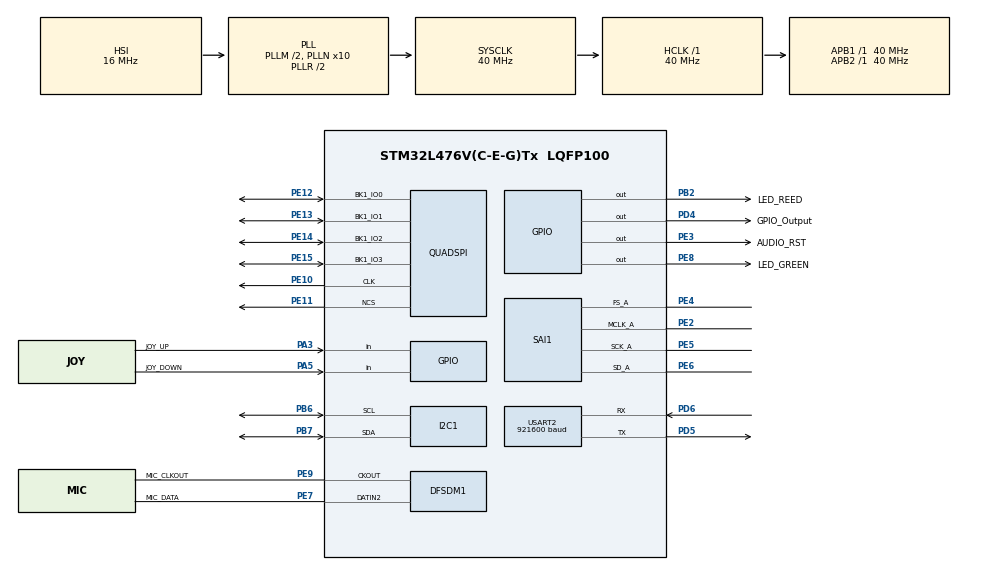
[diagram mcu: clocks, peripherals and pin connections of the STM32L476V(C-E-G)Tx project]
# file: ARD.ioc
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DFSDM1.Divider=20
DFSDM1.DmaMode_reg_FIL0=ENABLE
DFSDM1.FastMode_reg_FIL0=ENABLE
DFSDM1.Filter_regChannel_FIL0=DFSDM_CHANNEL_2
DFSDM1.Fosr_FIL0=90
DFSDM1.RightBitShift_CH2=0x08
DFSDM1.SincOrder_FIL0=DFSDM_FILTER_SINC3_ORDER
Dma.DFSDM1_FLT0.0.Direction=DMA_PERIPH_TO_MEMORY
Dma.DFSDM1_FLT0.0.Instance=DMA1_Channel4
Dma.DFSDM1_FLT0.0.MemDataAlignment=DMA_MDATAALIGN_WORD
Dma.DFSDM1_FLT0.0.MemInc=DMA_MINC_ENABLE
Dma.DFSDM1_FLT0.0.Mode=DMA_CIRCULAR
Dma.DFSDM1_FLT0.0.PeriphDataAlignment=DMA_PDATAALIGN_WORD
Dma.DFSDM1_FLT0.0.PeriphInc=DMA_PINC_DISABLE
Dma.DFSDM1_FLT0.0.Priority=DMA_PRIORITY_LOW
Dma.QUADSPI.2.Direction=DMA_PERIPH_TO_MEMORY
Dma.QUADSPI.2.Instance=DMA1_Channel5
Dma.QUADSPI.2.MemDataAlignment=DMA_MDATAALIGN_HALFWORD
Dma.QUADSPI.2.MemInc=DMA_MINC_ENABLE
Dma.QUADSPI.2.Mode=DMA_NORMAL
Dma.QUADSPI.2.PeriphDataAlignment=DMA_PDATAALIGN_HALFWORD
Dma.QUADSPI.2.PeriphInc=DMA_PINC_DISABLE
Dma.QUADSPI.2.Priority=DMA_PRIORITY_HIGH
Dma.Request0=DFSDM1_FLT0
Dma.Request1=SAI1_A
Dma.Request2=QUADSPI
Dma.SAI1_A.1.Direction=DMA_MEMORY_TO_PERIPH
Dma.SAI1_A.1.Instance=DMA2_Channel1
Dma.SAI1_A.1.MemDataAlignment=DMA_MDATAALIGN_HALFWORD
Dma.SAI1_A.1.MemInc=DMA_MINC_ENABLE
Dma.SAI1_A.1.Mode=DMA_CIRCULAR
Dma.SAI1_A.1.PeriphDataAlignment=DMA_PDATAALIGN_HALFWORD
Dma.SAI1_A.1.PeriphInc=DMA_PINC_DISABLE
Dma.SAI1_A.1.Priority=DMA_PRIORITY_LOW
I2C1.Timing=0x00D09BE3
Mcu.Family=STM32L4
Mcu.Name=STM32L476V(C-E-G)Tx
Mcu.Package=LQFP100
NVIC.DMA1_Channel4_IRQn=true\:0\:0\:false\:false\:true\:false\:true\:true
NVIC.DMA1_Channel5_IRQn=true\:0\:0\:false\:false\:true\:false\:true\:true
NVIC.DMA2_Channel1_IRQn=true\:0\:0\:false\:false\:true\:false\:true\:true
NVIC.PriorityGroup=NVIC_PRIORITYGROUP_4
PA3.GPIO_Label=JOY_UP
PA3.GPIO_PuPd=GPIO_PULLDOWN
PA3.Signal=GPIO_Input
PA5.GPIO_Label=JOY_DOWN
PA5.GPIO_PuPd=GPIO_PULLDOWN
PA5.Signal=GPIO_Input
PB2.GPIO_Label=LED_REED
PB2.Signal=GPIO_Output
PB6.Mode=I2C
PB6.Signal=I2C1_SCL
PB7.Mode=I2C
PB7.Signal=I2C1_SDA
PD4.GPIO_Label=GPIO_Output
PD4.Signal=GPIO_Output
PD5.Mode=Asynchronous
PD5.Signal=USART2_TX
PD6.Mode=Asynchronous
PD6.Signal=USART2_RX
PE10.Mode=Single Bank
PE10.Signal=QUADSPI_CLK
PE11.Mode=Single Bank
PE11.Signal=QUADSPI_NCS
PE12.Mode=Single Bank
PE12.Signal=QUADSPI_BK1_IO0
PE13.Mode=Single Bank
PE13.Signal=QUADSPI_BK1_IO1
PE14.Mode=Single Bank
PE14.Signal=QUADSPI_BK1_IO2
PE15.Mode=Single Bank
PE15.Signal=QUADSPI_BK1_IO3
PE2.Mode=SAI_A_MasterWithClock
PE2.Signal=SAI1_MCLK_A
PE3.GPIO_Label=AUDIO_RST
PE3.Signal=GPIO_Output
PE4.Mode=SAI_A_MasterWithClock
PE4.Signal=SAI1_FS_A
PE5.Mode=SAI_A_MasterWithClock
PE5.Signal=SAI1_SCK_A
PE6.Mode=SAI_A_MasterWithClock
PE6.Signal=SAI1_SD_A
PE7.GPIO_Label=MIC_DATA
PE7.Signal=S_DATAIN2DFSDM1
PE8.GPIO_Label=LED_GREEN
PE8.Signal=GPIO_Output
PE9.GPIO_Label=MIC_CLKOUT
PE9.Signal=S_CKOUTDFSDM1
PH0-OSC_IN\ (PH0).Mode=HSE-External-Oscillator
PH0-OSC_IN\ (PH0).Signal=RCC_OSC_IN
PH1-OSC_OUT\ (PH1).Mode=HSE-External-Oscillator
PH1-OSC_OUT\ (PH1).Signal=RCC_OSC_OUT
ProjectManager.HeapSize=0x200
ProjectManager.StackSize=0x400
ProjectManager.TargetToolchain=STM32CubeIDE
QUADSPI.ClockPrescaler-Single\ Bank=0
QUADSPI.FifoThreshold-Single\ Bank=4
QUADSPI.FlashSize-Single\ Bank=23
RCC.ADCFreq_Value=188000000
RCC.AHBFreq_Value=40000000
RCC.APB1Freq_Value=40000000
RCC.APB1TimFreq_Value=40000000
RCC.APB2Freq_Value=40000000
RCC.APB2TimFreq_Value=40000000
RCC.CortexFreq_Value=40000000
RCC.FLatency-AdvancedSettings=FLASH_LATENCY_0
RCC.HCLKFreq_Value=40000000
RCC.HSE_VALUE=8000000
RCC.HSI_VALUE=16000000
RCC.LSE_VALUE=32768
RCC.MSI_VALUE=4000000
RCC.PLLM=2
RCC.PLLN=10
RCC.PLLSAI1N=47
RCC.PLLSAI1P=RCC_PLLP_DIV17
RCC.PLLSAI2N=12
RCC.PLLSAI2P=RCC_PLLP_DIV17
RCC.PLLSourceVirtual=RCC_PLLSOURCE_HSI
RCC.SAI1CLockSelection=RCC_SAI1CLKSOURCE_PLLSAI2
RCC.SYSCLKFreq_VALUE=40000000
RCC.SYSCLKSource=RCC_SYSCLKSOURCE_PLLCLK
RCC.USBFreq_Value=188000000
RCC.VCOOutputFreq_Value=80000000
SAI1.AudioFrequency-SAI_A_MasterWithClock=SAI_AUDIO_FREQUENCY_22K
SAI1.ErrorAudioFreq-SAI_A_MasterWithClock=0.03 %
SAI1.InitProtocol-SAI_A_MasterWithClock=Enable
SAI1.Instance-SAI_A_MasterWithClock=SAI$Index_Block_A
SAI1.MClockEnable-SAI_A_MasterWithClock=SAI_MASTERCLOCK_ENABLE
SAI1.RealAudioFreq-SAI_A_MasterWithClock=22.058 KHz
SAI1.VirtualMode-SAI_A_MasterWithClock=VM_MASTER
SAI1.VirtualProtocol-SAI_A_BASIC=VM_BASIC_PROTOCOL
SH.S_CKOUTDFSDM1.0=DFSDM1_CKOUT,PDM_SPI_input_from_ch2_and_internal_clock
SH.S_CKOUTDFSDM1.1=DFSDM1_CKOUT,CKOUT
SH.S_DATAIN2DFSDM1.0=DFSDM1_DATIN2,PDM_SPI_input_from_ch2_and_internal_clock
USART2.BaudRate=921600
USART2.VirtualMode-Asynchronous=VM_ASYNC
VP_SAI1_VP_$IpInstance_SAIA_SAI_BASIC.Mode=SAI_A_BASIC
board=custom

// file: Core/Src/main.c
/* USER CODE BEGIN Header */
/**
  ******************************************************************************
  * @file           : main.c
  * @brief          : Main program body
  ******************************************************************************
  * @attention
  *
  * Copyright (c) 2025 STMicroelectronics.
  * All rights reserved.
  *
  * This software is licensed under terms that can be found in the LICENSE file
  * in the root directory of this software component.
  * If no LICENSE file comes with this software, it is provided AS-IS.
  *
  ******************************************************************************
  */
/* USER CODE END Header */
#include "main.h"

/* USER CODE BEGIN Includes */
#include <string.h>
#include "c22.h"
#include "wav_data_16bit.h"
#include "audio_recorder.h"
#include "stm32l476g_discovery_qspi.h"
/* USER CODE END Includes */

/* USER CODE BEGIN PD */
#define BUFFER_SIZE 4096
static int16_t audio_data[2 * BUFFER_SIZE];
static volatile uint32_t g_wav_data_index = 0; //aktualna próbka

static volatile uint32_t g_qspi_read_address = 0;
static volatile uint32_t g_max_audio_size_bytes = 0;
/* USER CODE END PD */

DFSDM_Filter_HandleTypeDef hdfsdm1_filter0;
DFSDM_Channel_HandleTypeDef hdfsdm1_channel2;
DMA_HandleTypeDef hdma_dfsdm1_flt0;

I2C_HandleTypeDef hi2c1;

QSPI_HandleTypeDef hqspi;
DMA_HandleTypeDef hdma_quadspi;

SAI_HandleTypeDef hsai_BlockA1;
DMA_HandleTypeDef hdma_sai1_a;

UART_HandleTypeDef huart2;

/* USER CODE BEGIN PV */
volatile uint8_t workMode = 0;
volatile uint32_t lastBlinkTime = 0;
#define BLINK_INTERVAL_PLAYBACK 100
#define BLINK_INTERVAL_RECORDING 500
volatile uint8_t finishBlinkCounter = 0;
volatile uint32_t lastFinishBlinkTime = 0;
#define BLINK_INTERVAL_FINISH 100
/* USER CODE END PV */

void SystemClock_Config(void);
static void MX_GPIO_Init(void);
static void MX_DMA_Init(void);
static void MX_DFSDM1_Init(void);
static void MX_USART2_UART_Init(void);
static void MX_I2C1_Init(void);
static void MX_SAI1_Init(void);
static void MX_QUADSPI_Init(void);
/* USER CODE BEGIN PFP */
void HAL_SAI_TxCpltCallback(SAI_HandleTypeDef *hsai);
void HAL_SAI_TxHalfCpltCallback(SAI_HandleTypeDef *hsai);
static void Fill_Audio_Buffer(int16_t* buf, uint32_t n);
static void Fill_Audio_Buffer_From_QSPI(int16_t* buf, uint32_t n);
/* USER CODE END PFP */

int main(void)
{

  /* MCU Configuration--------------------------------------------------------*/

  /* Reset of all peripherals, Initializes the Flash interface and the Systick. */
  HAL_Init();

  /* Configure the system clock */
  SystemClock_Config();

  /* Initialize all configured peripherals */
  MX_GPIO_Init();
  MX_DMA_Init();
  MX_DFSDM1_Init();
  MX_USART2_UART_Init();
  MX_I2C1_Init();
  MX_SAI1_Init();
  MX_QUADSPI_Init();
  /* USER CODE BEGIN 2 */

  AudioRecorderInit();
  /* USER CODE END 2 */

  /* Infinite loop */
  /* USER CODE BEGIN WHILE */
  HAL_GPIO_WritePin(LED_GREEN_GPIO_Port, LED_GREEN_Pin, GPIO_PIN_RESET);
  HAL_GPIO_WritePin(LED_REED_GPIO_Port, LED_REED_Pin, GPIO_PIN_RESET);
  while (1)
  {

	  if (workMode == 0 && finishBlinkCounter == 0) {
	  		  HAL_GPIO_WritePin(LED_GREEN_GPIO_Port, LED_GREEN_Pin, GPIO_PIN_RESET);
	  		  HAL_GPIO_WritePin(LED_REED_GPIO_Port, LED_REED_Pin, GPIO_PIN_RESET);
	  	  }

	  	  if(HAL_GPIO_ReadPin(JOY_UP_GPIO_Port, JOY_UP_Pin)==GPIO_PIN_SET) {
	  	  	  if (workMode == 0) workMode = 1;
	  	  }

	  	  if(HAL_GPIO_ReadPin(JOY_DOWN_GPIO_Port, JOY_DOWN_Pin)==GPIO_PIN_SET) {
	  		  if (workMode == 0) workMode = 2;
	  	  }

	  	  if (workMode==1){
	              if (g_max_audio_size_bytes == 0) {
	                  HAL_Delay(100);
	                  workMode = 0;
	                  continue;
	              }

	    		    HAL_GPIO_WritePin(LED_GREEN_GPIO_Port, LED_GREEN_Pin, GPIO_PIN_SET);
	    		    HAL_GPIO_WritePin(LED_REED_GPIO_Port, LED_REED_Pin, GPIO_PIN_RESET);

	    		    memset(audio_data, 0, sizeof(audio_data));
	    		    cs43l22_init(&hi2c1);
	              g_qspi_read_address = 44;
	              Fill_Audio_Buffer_From_QSPI(audio_data, BUFFER_SIZE);
	              Fill_Audio_Buffer_From_QSPI(audio_data + BUFFER_SIZE, BUFFER_SIZE);

	    	  	    HAL_SAI_Transmit_DMA(&hsai_BlockA1, (uint8_t*)audio_data, 2 * BUFFER_SIZE);

	    	  	    workMode=4;
	    	    }

	  	  if (workMode==2){ // StartRecord
	  		    HAL_GPIO_WritePin(LED_GREEN_GPIO_Port, LED_GREEN_Pin, GPIO_PIN_RESET);
	  		    HAL_GPIO_WritePin(LED_REED_GPIO_Port, LED_REED_Pin, GPIO_PIN_SET);

	  	  	    memset(recBuff,0,sizeof(recBuff));
	  	  	    HAL_Delay(100);
	  	  	    HAL_DFSDM_FilterRegularStart_DMA(&hdfsdm1_filter0, (int32_t *)recBuff, AUDIO_BUF);
	  	  	    lastBlinkTime = HAL_GetTick();
	  	  	    workMode=3;
	  	    }

	  	  if (workMode==3){ //
	  		  if (recordingDone){
	  			  g_max_audio_size_bytes = (uint32_t)SAMPLE_RATE * TOTAL_SECONDS * 2;
	  			  finishBlinkCounter = 6;
	  			  lastFinishBlinkTime = HAL_GetTick();
	  			  workMode=0;
	  		  }
	  	  }

	  	  if (workMode == 4) {
	  	  	  if (HAL_GetTick() - lastBlinkTime >= BLINK_INTERVAL_PLAYBACK) {
	  	  		  HAL_GPIO_TogglePin(LED_REED_GPIO_Port, LED_REED_Pin);
	  	  		  HAL_GPIO_WritePin(LED_GREEN_GPIO_Port, LED_GREEN_Pin, GPIO_PIN_SET);
	  	  		  lastBlinkTime = HAL_GetTick();
	  	  	  }
	  	  }
	  	  if (workMode == 0 && finishBlinkCounter > 0) {
	  		  if (HAL_GetTick() - lastFinishBlinkTime >= BLINK_INTERVAL_FINISH) {
	  			  HAL_GPIO_TogglePin(LED_GREEN_GPIO_Port, LED_GREEN_Pin);
	  			  HAL_GPIO_WritePin(LED_REED_GPIO_Port, LED_REED_Pin, GPIO_PIN_RESET);
	  			  finishBlinkCounter--;
	  			  lastFinishBlinkTime = HAL_GetTick();
	  		  }
	  	  }
    /* USER CODE END WHILE */

  }
}

void SystemClock_Config(void)
{
  RCC_OscInitTypeDef RCC_OscInitStruct = {0};
  RCC_ClkInitTypeDef RCC_ClkInitStruct = {0};

  /** Configure the main internal regulator output voltage
  */
  if (HAL_PWREx_ControlVoltageScaling(PWR_REGULATOR_VOLTAGE_SCALE1) != HAL_OK)
  {
    Error_Handler();
  }

  /** Initializes the RCC Oscillators according to the specified parameters
  * in the RCC_OscInitTypeDef structure.
  */
  RCC_OscInitStruct.OscillatorType = RCC_OSCILLATORTYPE_HSI;
  RCC_OscInitStruct.HSIState = RCC_HSI_ON;
  RCC_OscInitStruct.HSICalibrationValue = RCC_HSICALIBRATION_DEFAULT;
  RCC_OscInitStruct.PLL.PLLState = RCC_PLL_ON;
  RCC_OscInitStruct.PLL.PLLSource = RCC_PLLSOURCE_HSI;
  RCC_OscInitStruct.PLL.PLLM = 2;
  RCC_OscInitStruct.PLL.PLLN = 10;
  RCC_OscInitStruct.PLL.PLLP = RCC_PLLP_DIV7;
  RCC_OscInitStruct.PLL.PLLQ = RCC_PLLQ_DIV2;
  RCC_OscInitStruct.PLL.PLLR = RCC_PLLR_DIV2;
  if (HAL_RCC_OscConfig(&RCC_OscInitStruct) != HAL_OK)
  {
    Error_Handler();
  }

  /** Initializes the CPU, AHB and APB buses clocks
  */
  RCC_ClkInitStruct.ClockType = RCC_CLOCKTYPE_HCLK|RCC_CLOCKTYPE_SYSCLK
                              |RCC_CLOCKTYPE_PCLK1|RCC_CLOCKTYPE_PCLK2;
  RCC_ClkInitStruct.SYSCLKSource = RCC_SYSCLKSOURCE_PLLCLK;
  RCC_ClkInitStruct.AHBCLKDivider = RCC_SYSCLK_DIV1;
  RCC_ClkInitStruct.APB1CLKDivider = RCC_HCLK_DIV1;
  RCC_ClkInitStruct.APB2CLKDivider = RCC_HCLK_DIV1;

  if (HAL_RCC_ClockConfig(&RCC_ClkInitStruct, FLASH_LATENCY_2) != HAL_OK)
  {
    Error_Handler();
  }
}

static void MX_DFSDM1_Init(void)
{

  hdfsdm1_filter0.Instance = DFSDM1_Filter0;
  hdfsdm1_filter0.Init.RegularParam.Trigger = DFSDM_FILTER_SW_TRIGGER;
  hdfsdm1_filter0.Init.RegularParam.FastMode = ENABLE;
  hdfsdm1_filter0.Init.RegularParam.DmaMode = ENABLE;
  hdfsdm1_filter0.Init.FilterParam.SincOrder = DFSDM_FILTER_SINC3_ORDER;
  hdfsdm1_filter0.Init.FilterParam.Oversampling = 90;
  hdfsdm1_filter0.Init.FilterParam.IntOversampling = 1;
  if (HAL_DFSDM_FilterInit(&hdfsdm1_filter0) != HAL_OK)
  {
    Error_Handler();
  }
  hdfsdm1_channel2.Instance = DFSDM1_Channel2;
  hdfsdm1_channel2.Init.OutputClock.Activation = ENABLE;
  hdfsdm1_channel2.Init.OutputClock.Selection = DFSDM_CHANNEL_OUTPUT_CLOCK_SYSTEM;
  hdfsdm1_channel2.Init.OutputClock.Divider = 20;
  hdfsdm1_channel2.Init.Input.Multiplexer = DFSDM_CHANNEL_EXTERNAL_INPUTS;
  hdfsdm1_channel2.Init.Input.DataPacking = DFSDM_CHANNEL_STANDARD_MODE;
  hdfsdm1_channel2.Init.Input.Pins = DFSDM_CHANNEL_SAME_CHANNEL_PINS;
  hdfsdm1_channel2.Init.SerialInterface.Type = DFSDM_CHANNEL_SPI_RISING;
  hdfsdm1_channel2.Init.SerialInterface.SpiClock = DFSDM_CHANNEL_SPI_CLOCK_INTERNAL;
  hdfsdm1_channel2.Init.Awd.FilterOrder = DFSDM_CHANNEL_FASTSINC_ORDER;
  hdfsdm1_channel2.Init.Awd.Oversampling = 1;
  hdfsdm1_channel2.Init.Offset = 0;
  hdfsdm1_channel2.Init.RightBitShift = 0x08;
  if (HAL_DFSDM_ChannelInit(&hdfsdm1_channel2) != HAL_OK)
  {
    Error_Handler();
  }
  if (HAL_DFSDM_FilterConfigRegChannel(&hdfsdm1_filter0, DFSDM_CHANNEL_2, DFSDM_CONTINUOUS_CONV_ON) != HAL_OK)
  {
    Error_Handler();
  }

}

static void MX_I2C1_Init(void)
{

  hi2c1.Instance = I2C1;
  hi2c1.Init.Timing = 0x00D09BE3;
  hi2c1.Init.OwnAddress1 = 0;
  hi2c1.Init.AddressingMode = I2C_ADDRESSINGMODE_7BIT;
  hi2c1.Init.DualAddressMode = I2C_DUALADDRESS_DISABLE;
  hi2c1.Init.OwnAddress2 = 0;
  hi2c1.Init.OwnAddress2Masks = I2C_OA2_NOMASK;
  hi2c1.Init.GeneralCallMode = I2C_GENERALCALL_DISABLE;
  hi2c1.Init.NoStretchMode = I2C_NOSTRETCH_DISABLE;
  if (HAL_I2C_Init(&hi2c1) != HAL_OK)
  {
    Error_Handler();
  }

  /** Configure Analogue filter
  */
  if (HAL_I2CEx_ConfigAnalogFilter(&hi2c1, I2C_ANALOGFILTER_ENABLE) != HAL_OK)
  {
    Error_Handler();
  }

  /** Configure Digital filter
  */
  if (HAL_I2CEx_ConfigDigitalFilter(&hi2c1, 0) != HAL_OK)
  {
    Error_Handler();
  }

}

static void MX_QUADSPI_Init(void)
{

  /* QUADSPI parameter configuration*/
  hqspi.Instance = QUADSPI;
  hqspi.Init.ClockPrescaler = 0;
  hqspi.Init.FifoThreshold = 4;
  hqspi.Init.SampleShifting = QSPI_SAMPLE_SHIFTING_NONE;
  hqspi.Init.FlashSize = 23;
  hqspi.Init.ChipSelectHighTime = QSPI_CS_HIGH_TIME_1_CYCLE;
  hqspi.Init.ClockMode = QSPI_CLOCK_MODE_0;
  if (HAL_QSPI_Init(&hqspi) != HAL_OK)
  {
    Error_Handler();
  }

}

static void MX_SAI1_Init(void)
{

  hsai_BlockA1.Instance = SAI1_Block_A;
  hsai_BlockA1.Init.AudioMode = SAI_MODEMASTER_TX;
  hsai_BlockA1.Init.Synchro = SAI_ASYNCHRONOUS;
  hsai_BlockA1.Init.OutputDrive = SAI_OUTPUTDRIVE_DISABLE;
  hsai_BlockA1.Init.NoDivider = SAI_MASTERDIVIDER_ENABLE;
  hsai_BlockA1.Init.FIFOThreshold = SAI_FIFOTHRESHOLD_EMPTY;
  hsai_BlockA1.Init.AudioFrequency = SAI_AUDIO_FREQUENCY_22K;
  hsai_BlockA1.Init.SynchroExt = SAI_SYNCEXT_DISABLE;
  hsai_BlockA1.Init.MonoStereoMode = SAI_STEREOMODE;
  hsai_BlockA1.Init.CompandingMode = SAI_NOCOMPANDING;
  hsai_BlockA1.Init.TriState = SAI_OUTPUT_NOTRELEASED;
  if (HAL_SAI_InitProtocol(&hsai_BlockA1, SAI_I2S_STANDARD, SAI_PROTOCOL_DATASIZE_16BIT, 2) != HAL_OK)
  {
    Error_Handler();
  }

}

static void MX_USART2_UART_Init(void)
{

  huart2.Instance = USART2;
  huart2.Init.BaudRate = 921600;
  huart2.Init.WordLength = UART_WORDLENGTH_8B;
  huart2.Init.StopBits = UART_STOPBITS_1;
  huart2.Init.Parity = UART_PARITY_NONE;
  huart2.Init.Mode = UART_MODE_TX_RX;
  huart2.Init.HwFlowCtl = UART_HWCONTROL_NONE;
  huart2.Init.OverSampling = UART_OVERSAMPLING_16;
  huart2.Init.OneBitSampling = UART_ONE_BIT_SAMPLE_DISABLE;
  huart2.AdvancedInit.AdvFeatureInit = UART_ADVFEATURE_NO_INIT;
  if (HAL_UART_Init(&huart2) != HAL_OK)
  {
    Error_Handler();
  }

}

static void MX_DMA_Init(void)
{

  /* DMA controller clock enable */
  __HAL_RCC_DMA1_CLK_ENABLE();
  __HAL_RCC_DMA2_CLK_ENABLE();

  /* DMA interrupt init */
  /* DMA1_Channel4_IRQn interrupt configuration */
  HAL_NVIC_SetPriority(DMA1_Channel4_IRQn, 0, 0);
  HAL_NVIC_EnableIRQ(DMA1_Channel4_IRQn);
  /* DMA1_Channel5_IRQn interrupt configuration */
  HAL_NVIC_SetPriority(DMA1_Channel5_IRQn, 0, 0);
  HAL_NVIC_EnableIRQ(DMA1_Channel5_IRQn);
  /* DMA2_Channel1_IRQn interrupt configuration */
  HAL_NVIC_SetPriority(DMA2_Channel1_IRQn, 0, 0);
  HAL_NVIC_EnableIRQ(DMA2_Channel1_IRQn);

}

static void MX_GPIO_Init(void)
{
  GPIO_InitTypeDef GPIO_InitStruct = {0};

  /* GPIO Ports Clock Enable */
  __HAL_RCC_GPIOE_CLK_ENABLE();
  __HAL_RCC_GPIOH_CLK_ENABLE();
  __HAL_RCC_GPIOA_CLK_ENABLE();
  __HAL_RCC_GPIOB_CLK_ENABLE();
  __HAL_RCC_GPIOD_CLK_ENABLE();

  /*Configure GPIO pin Output Level */
  HAL_GPIO_WritePin(GPIOE, AUDIO_RST_Pin|LED_GREEN_Pin, GPIO_PIN_RESET);

  /*Configure GPIO pin Output Level */
  HAL_GPIO_WritePin(LED_REED_GPIO_Port, LED_REED_Pin, GPIO_PIN_RESET);

  /*Configure GPIO pin Output Level */
  HAL_GPIO_WritePin(GPIO_Output_GPIO_Port, GPIO_Output_Pin, GPIO_PIN_RESET);

  /*Configure GPIO pins : AUDIO_RST_Pin LED_GREEN_Pin */
  GPIO_InitStruct.Pin = AUDIO_RST_Pin|LED_GREEN_Pin;
  GPIO_InitStruct.Mode = GPIO_MODE_OUTPUT_PP;
  GPIO_InitStruct.Pull = GPIO_NOPULL;
  GPIO_InitStruct.Speed = GPIO_SPEED_FREQ_LOW;
  HAL_GPIO_Init(GPIOE, &GPIO_InitStruct);

  /*Configure GPIO pins : JOY_UP_Pin JOY_DOWN_Pin */
  GPIO_InitStruct.Pin = JOY_UP_Pin|JOY_DOWN_Pin;
  GPIO_InitStruct.Mode = GPIO_MODE_INPUT;
  GPIO_InitStruct.Pull = GPIO_PULLDOWN;
  HAL_GPIO_Init(GPIOA, &GPIO_InitStruct);

  /*Configure GPIO pin : LED_REED_Pin */
  GPIO_InitStruct.Pin = LED_REED_Pin;
  GPIO_InitStruct.Mode = GPIO_MODE_OUTPUT_PP;
  GPIO_InitStruct.Pull = GPIO_NOPULL;
  GPIO_InitStruct.Speed = GPIO_SPEED_FREQ_LOW;
  HAL_GPIO_Init(LED_REED_GPIO_Port, &GPIO_InitStruct);

  /*Configure GPIO pin : GPIO_Output_Pin */
  GPIO_InitStruct.Pin = GPIO_Output_Pin;
  GPIO_InitStruct.Mode = GPIO_MODE_OUTPUT_PP;
  GPIO_InitStruct.Pull = GPIO_NOPULL;
  GPIO_InitStruct.Speed = GPIO_SPEED_FREQ_LOW;
  HAL_GPIO_Init(GPIO_Output_GPIO_Port, &GPIO_InitStruct);

}

/* USER CODE BEGIN 4 */

static void Fill_Audio_Buffer_From_QSPI(int16_t* buf, uint32_t n)
{
    uint32_t qspi_elements_to_read = n / 2;
    uint32_t qspi_bytes_to_read = qspi_elements_to_read * sizeof(int16_t);

    uint32_t audio_offset = g_qspi_read_address - 44;
    uint32_t bytes_left = (audio_offset < g_max_audio_size_bytes) ? (g_max_audio_size_bytes - audio_offset) : 0;

    if (bytes_left == 0) {
                HAL_SAI_DMAStop(&hsai_BlockA1);
                memset(buf, 0, n * sizeof(int16_t));
                HAL_GPIO_WritePin(LED_GREEN_GPIO_Port, LED_GREEN_Pin, GPIO_PIN_RESET);
                HAL_GPIO_WritePin(LED_REED_GPIO_Port, LED_REED_Pin, GPIO_PIN_RESET);
                cs43l22_power_down(&hi2c1);
                finishBlinkCounter = 6 ;
                lastFinishBlinkTime = HAL_GetTick();
                workMode = 0;
                return;
            }

    if (qspi_bytes_to_read > bytes_left) {
        qspi_bytes_to_read = bytes_left;
        qspi_elements_to_read = qspi_bytes_to_read / sizeof(int16_t);
    }

    int16_t qspi_temp_buffer[qspi_elements_to_read];

    if (BSP_QSPI_Read((uint8_t*)qspi_temp_buffer, g_qspi_read_address, qspi_bytes_to_read) != QSPI_OK) {
        Error_Handler();
    }

    g_qspi_read_address += qspi_bytes_to_read;

    for (uint32_t i = 0; i < qspi_elements_to_read; i++)
    {
        int16_t sample = qspi_temp_buffer[i];

        buf[2*i] = sample;

        buf[2*i + 1] = sample;
    }

    if (qspi_elements_to_read < n / 2) {
        memset(buf + 2 * qspi_elements_to_read, 0, (n - 2 * qspi_elements_to_read) * sizeof(int16_t));
    }
}

void HAL_SAI_TxHalfCpltCallback(SAI_HandleTypeDef *hsai)
{
  if (hsai->Instance == SAI1_Block_A)
  {
    Fill_Audio_Buffer_From_QSPI(audio_data, BUFFER_SIZE);
  }
}

void HAL_SAI_TxCpltCallback(SAI_HandleTypeDef *hsai)
{
  if (hsai->Instance == SAI1_Block_A)
  {
    Fill_Audio_Buffer_From_QSPI(audio_data + BUFFER_SIZE, BUFFER_SIZE);
  }
}

static void Fill_Audio_Buffer(int16_t* buf, uint32_t n)
{
  for (uint32_t i = 0; i < n; i += 2)
  {
    if (g_wav_data_index >= wav_audio_data_16bit_size_samples)
      g_wav_data_index = 0;

    int16_t s = wav_audio_data_16bit[g_wav_data_index++];

    buf[i]   = s;
    buf[i+1] = s;
  }
}

//void HAL_SAI_TxHalfCpltCallback(SAI_HandleTypeDef *hsai)
//{
//  if (hsai->Instance == SAI1_Block_A)
//  {
//    Fill_Audio_Buffer(audio_data, BUFFER_SIZE);
//  }
//}
//
//void HAL_SAI_TxCpltCallback(SAI_HandleTypeDef *hsai)
//{
//  if (hsai->Instance == SAI1_Block_A)
//  {
//    Fill_Audio_Buffer(audio_data + BUFFER_SIZE, BUFFER_SIZE);
//  }
//}
/* USER CODE END 4 */

void Error_Handler(void)
{
  __disable_irq();
  while (1)
  {
  }
}
